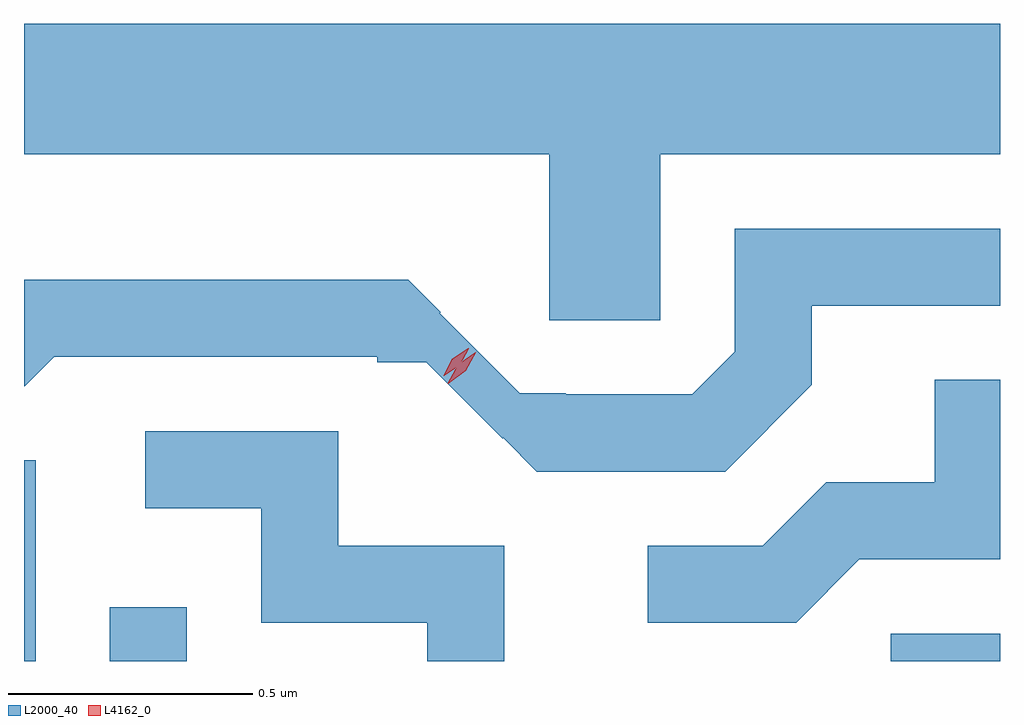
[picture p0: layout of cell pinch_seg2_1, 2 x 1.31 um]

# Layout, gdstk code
import gdstk
lib = gdstk.Library(unit=1e-6, precision=1e-09)
def R(c, l, rs):  # rectangles x0, y0, x1, y1
    for r in rs: c.add(gdstk.rectangle(r[:2], r[2:], *l))
def P(c, l, *ps):  # polygons
    for p in ps: c.add(gdstk.Polygon(p, *l))
L2000_40 = (2000, 40)
L4162_0 = (4162, 0)

pinch_seg2_1 = lib.new_cell('pinch_seg2_1')
R(pinch_seg2_1, L2000_40, [(1906.005,1002.877,1906.029,1003.289), (1906.181,1002.877,1906.339,1002.988), (1907.781,1002.877,1908.005,1002.934)])
P(pinch_seg2_1, L2000_40, [(1907.309,1003.916),(1908.005,1003.916),(1908.005,1004.184),(1906.005,1004.184),(1906.005,1003.916),(1907.081,1003.916),(1907.081,1003.576),(1907.309,1003.576)],
  [(1907.619,1003.444),(1907.619,1003.606),(1908.005,1003.606),(1908.005,1003.764),(1907.461,1003.764),(1907.461,1003.512),(1907.374,1003.424),(1907.115,1003.424),(1907.115,1003.426),(1907.021,1003.426),(1906.857,1003.59),(1906.859,1003.592),(1906.792,1003.659),(1906.005,1003.659),(1906.005,1003.441),(1906.007,1003.441),(1906.067,1003.501),(1906.729,1003.501),(1906.729,1003.49),(1906.829,1003.49),(1906.986,1003.333),(1906.987,1003.335),(1907.056,1003.266),(1907.442,1003.266)],
  [(1907.717,1003.086),(1908.005,1003.086),(1908.005,1003.454),(1907.871,1003.454),(1907.871,1003.244),(1907.649,1003.244),(1907.519,1003.114),(1907.283,1003.114),(1907.283,1002.956),(1907.587,1002.956)],
  [(1906.989,1003.114),(1906.649,1003.114),(1906.649,1003.349),(1906.253,1003.349),(1906.253,1003.191),(1906.491,1003.191),(1906.491,1002.956),(1906.831,1002.956),(1906.831,1002.877),(1906.989,1002.877)])
P(pinch_seg2_1, L4162_0, [(1906.873,1003.446),(1906.873,1003.447),(1906.895,1003.486),(1906.932,1003.512),(1906.932,1003.512),(1906.932,1003.512),(1906.91,1003.473),(1906.874,1003.446)],
  [(1906.865,1003.462),(1906.865,1003.463),(1906.883,1003.497),(1906.915,1003.519),(1906.916,1003.519),(1906.916,1003.518),(1906.898,1003.484),(1906.866,1003.462)])

lib.write_gds('pinch_seg2_1.gds')
